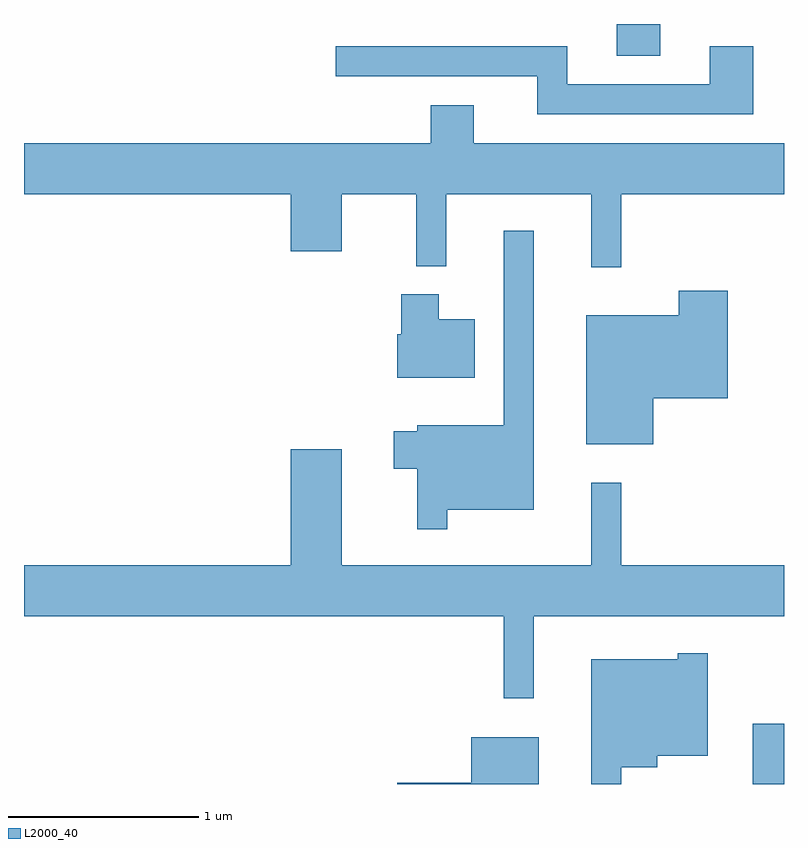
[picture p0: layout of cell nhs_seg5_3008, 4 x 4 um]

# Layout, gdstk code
import gdstk
lib = gdstk.Library(unit=1e-6, precision=1e-09)
def R(c, l, rs):  # rectangles x0, y0, x1, y1
    for r in rs: c.add(gdstk.rectangle(r[:2], r[2:], *l))
def P(c, l, *ps):  # polygons
    for p in ps: c.add(gdstk.Polygon(p, *l))
L2000_40 = (2000, 40)

nhs_seg5_3008 = lib.new_cell('nhs_seg5_3008')
R(nhs_seg5_3008, L2000_40, [(277.446,1518.072,277.611,1518.389), (276.731,1521.906,276.959,1522.072)])
P(nhs_seg5_3008, L2000_40, [(277.449,1521.954),(277.221,1521.954),(277.221,1521.754),(276.469,1521.754),(276.469,1521.954),(275.253,1521.954),(275.253,1521.796),(276.311,1521.796),(276.311,1521.596),(277.449,1521.596)],
  [(276.754,1521.176),(277.611,1521.176),(277.611,1521.444),(275.979,1521.444),(275.979,1521.644),(275.751,1521.644),(275.751,1521.444),(273.611,1521.444),(273.611,1521.176),(275.016,1521.176),(275.016,1520.876),(275.284,1520.876),(275.284,1521.176),(275.676,1521.176),(275.676,1520.798),(275.834,1520.798),(275.834,1521.176),(276.596,1521.176),(276.596,1520.793),(276.754,1520.793)],
  [(275.839,1519.516),(276.294,1519.516),(276.294,1520.983),(276.136,1520.983),(276.136,1519.959),(275.681,1519.959),(275.681,1519.929),(275.556,1519.929),(275.556,1519.731),(275.681,1519.731),(275.681,1519.413),(275.839,1519.413)],
  [(276.924,1520.101),(277.314,1520.101),(277.314,1520.669),(277.056,1520.669),(277.056,1520.539),(276.571,1520.539),(276.571,1519.861),(276.924,1519.861)],
  [(275.984,1520.519),(275.794,1520.519),(275.794,1520.649),(275.596,1520.649),(275.596,1520.439),(275.576,1520.439),(275.576,1520.211),(275.984,1520.211)],
  [(276.294,1518.956),(277.611,1518.956),(277.611,1519.224),(276.754,1519.224),(276.754,1519.658),(276.596,1519.658),(276.596,1519.224),(275.284,1519.224),(275.284,1519.834),(275.016,1519.834),(275.016,1519.224),(273.611,1519.224),(273.611,1518.956),(276.136,1518.956),(276.136,1518.523),(276.294,1518.523)],
  [(276.754,1518.161),(276.944,1518.161),(276.944,1518.221),(277.209,1518.221),(277.209,1518.759),(277.051,1518.759),(277.051,1518.729),(276.596,1518.729),(276.596,1518.072),(276.754,1518.072)],
  [(276.319,1518.319),(275.966,1518.319),(275.966,1518.079),(275.576,1518.079),(275.576,1518.072),(276.319,1518.072)])

lib.write_gds('nhs_seg5_3008.gds')
